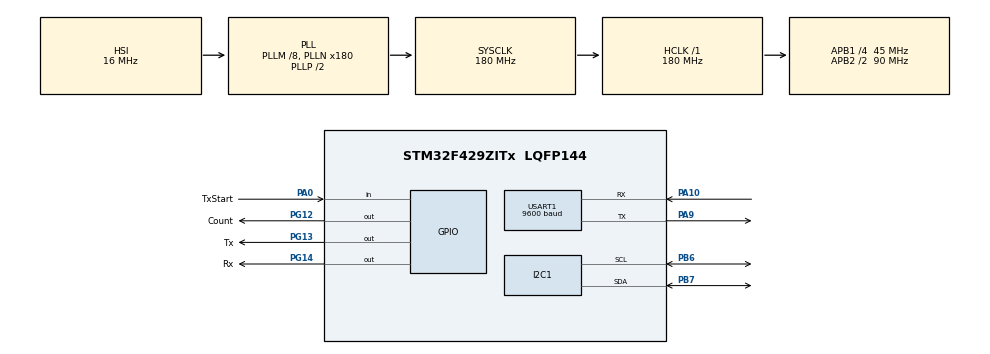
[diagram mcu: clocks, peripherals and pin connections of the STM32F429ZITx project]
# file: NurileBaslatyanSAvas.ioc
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I2C1.AddressingMode=I2C_ADDRESSINGMODE_7BIT
I2C1.DualAddressMode=I2C_DUALADDRESS_ENABLE
I2C1.GeneralCallMode=I2C_GENERALCALL_DISABLE
I2C1.OwnAddress=0x12
I2C1.OwnAddress2=0x14
Mcu.Family=STM32F4
Mcu.Name=STM32F429ZITx
Mcu.Package=LQFP144
NVIC.PriorityGroup=NVIC_PRIORITYGROUP_4
NVIC.TIM7_IRQn=true\:0\:0\:false\:false\:true\:true\:true
NVIC.USART1_IRQn=true\:0\:0\:false\:false\:true\:true\:true
PA0/WKUP.GPIO_Label=TxStart
PA0/WKUP.GPIO_PuPd=GPIO_PULLDOWN
PA0/WKUP.Signal=GPIO_Input
PA10.Mode=Asynchronous
PA10.Signal=USART1_RX
PA13.Mode=Serial_Wire
PA13.Signal=SYS_JTMS-SWDIO
PA14.Mode=Serial_Wire
PA14.Signal=SYS_JTCK-SWCLK
PA9.Mode=Asynchronous
PA9.Signal=USART1_TX
PB6.Mode=I2C
PB6.Signal=I2C1_SCL
PB7.Mode=I2C
PB7.Signal=I2C1_SDA
PG12.GPIO_Label=Count
PG12.Signal=GPIO_Output
PG13.GPIO_Label=Tx
PG13.Signal=GPIO_Output
PG14.GPIO_Label=Rx
PG14.Signal=GPIO_Output
PH0/OSC_IN.Mode=HSE-External-Oscillator
PH0/OSC_IN.Signal=RCC_OSC_IN
PH1/OSC_OUT.Mode=HSE-External-Oscillator
PH1/OSC_OUT.Signal=RCC_OSC_OUT
ProjectManager.HeapSize=0x200
ProjectManager.StackSize=0x400
ProjectManager.TargetToolchain=MDK-ARM V5.27
RCC.48MHZClocksFreq_Value=90000000
RCC.AHBFreq_Value=180000000
RCC.APB1CLKDivider=RCC_HCLK_DIV4
RCC.APB1Freq_Value=45000000
RCC.APB1TimFreq_Value=90000000
RCC.APB2CLKDivider=RCC_HCLK_DIV2
RCC.APB2Freq_Value=90000000
RCC.APB2TimFreq_Value=180000000
RCC.CortexFreq_Value=180000000
RCC.HCLKFreq_Value=180000000
RCC.HSE_VALUE=25000000
RCC.HSI_VALUE=16000000
RCC.LSE_VALUE=32768
RCC.PLLM=8
RCC.PLLN=180
RCC.SYSCLKFreq_VALUE=180000000
RCC.SYSCLKSource=RCC_SYSCLKSOURCE_PLLCLK
RCC.VCOOutputFreq_Value=360000000
TIM7.Period=59999
TIM7.Prescaler=14
USART1.BaudRate=9600
USART1.VirtualMode=VM_ASYNC
VP_TIM7_VS_ClockSourceINT.Mode=Enable_Timer
board=custom

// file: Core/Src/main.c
/* USER CODE BEGIN Header */
/**
  ******************************************************************************
  * @file           : main.c
  * @brief          : Main program body
  ******************************************************************************
  * @attention
  *
  * <h2><center>&copy; Copyright (c) 2021 STMicroelectronics.
  * All rights reserved.</center></h2>
  *
  * This software component is licensed by ST under BSD 3-Clause license,
  * the "License"; You may not use this file except in compliance with the
  * License. You may obtain a copy of the License at:
  *                        opensource.org/licenses/BSD-3-Clause
  *
  ******************************************************************************
  */
/* USER CODE END Header */
#include "main.h"

/* USER CODE BEGIN Includes */
#define  UartHaberUzulugu 50
#define RxStart 0xAB
#define I2CDataUzunluk 8
#define DS3231_ADDRESS 0xD0
/* USER CODE END Includes */

/* USER CODE BEGIN PTD */

uint8_t UartHaberlesmeBaslat=0;

uint8_t DataTx[UartHaberUzulugu];

uint8_t DataRx[UartHaberUzulugu];

uint8_t DataRxDogrulama=0;

uint8_t UartParemetre=0;

uint8_t UartHaberlesmeAdrsi=0xAB;

uint32_t TimeCount=0;

uint8_t UartCount=0;

uint32_t RealTime=0;
uint8_t ChecksumKontrol=0;
uint8_t GelenChecksum=0;
uint8_t GelenDataDogru=0;

///////////////////////i2c////////////////
uint8_t status = 0;
uint8_t I2CAdres=0x82;
uint8_t I2CData[1];
uint8_t I2CDataTx[2]={0x010,0x05};

uint8_t SetEt=0;
uint8_t yil=0;
uint8_t ay=0;
uint8_t gun=0;
uint8_t hafta=0;
uint8_t saat=0;
uint8_t dakika=0;
uint8_t saniye=0;
uint8_t Sor=0;
uint8_t nerden_geldi=0;
/* USER CODE END PTD */

I2C_HandleTypeDef hi2c1;

TIM_HandleTypeDef htim7;

UART_HandleTypeDef huart1;

void SystemClock_Config(void);
static void MX_GPIO_Init(void);
static void MX_TIM7_Init(void);
static void MX_USART1_UART_Init(void);
static void MX_I2C1_Init(void);
/* USER CODE BEGIN PFP */
uint8_t decToBcd(int val)
{
  return (uint8_t)( (val/10*16) + (val%10) );
}
// Convert binary coded decimal to normal decimal numbers
int bcdToDec(uint8_t val)
{
  return (int)( (val/16*10) + (val%16) );
}

typedef struct {
	uint8_t seconds;
	uint8_t minutes;
	uint8_t hour;
	uint8_t dayofweek;
	uint8_t dayofmonth;
	uint8_t month;
	uint8_t year;
} TIME;

TIME time;

// function to set time

void Set_Time (uint8_t sec, uint8_t min, uint8_t hour, uint8_t dow, uint8_t dom, uint8_t month, uint8_t year)
{
	uint8_t set_time[7];
	set_time[0] = decToBcd(sec);
	set_time[1] = decToBcd(min);
	set_time[2] = decToBcd(hour);
	set_time[3] = decToBcd(dow);
	set_time[4] = decToBcd(dom);
	set_time[5] = decToBcd(month);
	set_time[6] = decToBcd(year);

	HAL_I2C_Mem_Write(&hi2c1, DS3231_ADDRESS, 0x00, 1, set_time, 7, 1000);
}

void Get_Time (void)
{
	uint8_t get_time[7];
	HAL_I2C_Mem_Read(&hi2c1, DS3231_ADDRESS, 0x00, 1, get_time, 7, 1000);
	time.seconds = bcdToDec(get_time[0]);
	time.minutes = bcdToDec(get_time[1]);
	time.hour = bcdToDec(get_time[2]);
	time.dayofweek = bcdToDec(get_time[3]);
	time.dayofmonth = bcdToDec(get_time[4]);
	time.month = bcdToDec(get_time[5]);
	time.year = bcdToDec(get_time[6]);
}

float Get_Temp (void)
{
	uint8_t temp[2];

	HAL_I2C_Mem_Read(&hi2c1, DS3231_ADDRESS, 0x11, 1, temp, 2, 1000);
	return ((temp[0])+(temp[1]>>6)/4.0);
}

void force_temp_conv (void)
{
	uint8_t status=0;
	uint8_t control=0;
	HAL_I2C_Mem_Read(&hi2c1, DS3231_ADDRESS, 0x0F, 1, &status, 1, 100);  // read status register
	if (!(status&0x04))
	{
		HAL_I2C_Mem_Read(&hi2c1, DS3231_ADDRESS, 0x0E, 1, &control, 1, 100);  // read control register
		HAL_I2C_Mem_Write(&hi2c1, DS3231_ADDRESS, 0x0E, 1, (uint8_t *)(control|(0x20)), 1, 100);
	}
}

float TEMP;
char buffer[15];

/* USER CODE END PFP */

int main(void)
{

  /* MCU Configuration--------------------------------------------------------*/

  /* Reset of all peripherals, Initializes the Flash interface and the Systick. */
  HAL_Init();

  /* Configure the system clock */
  SystemClock_Config();

  /* Initialize all configured peripherals */
  MX_GPIO_Init();
  MX_TIM7_Init();
  MX_USART1_UART_Init();
  MX_I2C1_Init();

  /* Infinite loop */
  /* USER CODE BEGIN WHILE */

		HAL_UART_Receive_IT(&huart1, DataRx, UartHaberUzulugu);

	__HAL_TIM_CLEAR_IT(&htim7, TIM_IT_UPDATE);
	HAL_TIM_Base_Start_IT(&htim7);	//50Ms
	DataTx[0]=UartHaberlesmeAdrsi;
	DataTx[1]=0x01;
	DataTx[UartHaberUzulugu-3]=0x10;
	DataTx[UartHaberUzulugu-4]=0x11;
	DataTx[UartHaberUzulugu-4]=0xF1;
  while (1)
  {

    /* USER CODE END WHILE */

  }
}

void SystemClock_Config(void)
{
  RCC_OscInitTypeDef RCC_OscInitStruct = {0};
  RCC_ClkInitTypeDef RCC_ClkInitStruct = {0};

  /** Configure the main internal regulator output voltage
  */
  __HAL_RCC_PWR_CLK_ENABLE();
  __HAL_PWR_VOLTAGESCALING_CONFIG(PWR_REGULATOR_VOLTAGE_SCALE1);
  /** Initializes the RCC Oscillators according to the specified parameters
  * in the RCC_OscInitTypeDef structure.
  */
  RCC_OscInitStruct.OscillatorType = RCC_OSCILLATORTYPE_HSI;
  RCC_OscInitStruct.HSIState = RCC_HSI_ON;
  RCC_OscInitStruct.HSICalibrationValue = RCC_HSICALIBRATION_DEFAULT;
  RCC_OscInitStruct.PLL.PLLState = RCC_PLL_ON;
  RCC_OscInitStruct.PLL.PLLSource = RCC_PLLSOURCE_HSI;
  RCC_OscInitStruct.PLL.PLLM = 8;
  RCC_OscInitStruct.PLL.PLLN = 180;
  RCC_OscInitStruct.PLL.PLLP = RCC_PLLP_DIV2;
  RCC_OscInitStruct.PLL.PLLQ = 4;
  if (HAL_RCC_OscConfig(&RCC_OscInitStruct) != HAL_OK)
  {
    Error_Handler();
  }
  /** Activate the Over-Drive mode
  */
  if (HAL_PWREx_EnableOverDrive() != HAL_OK)
  {
    Error_Handler();
  }
  /** Initializes the CPU, AHB and APB buses clocks
  */
  RCC_ClkInitStruct.ClockType = RCC_CLOCKTYPE_HCLK|RCC_CLOCKTYPE_SYSCLK
                              |RCC_CLOCKTYPE_PCLK1|RCC_CLOCKTYPE_PCLK2;
  RCC_ClkInitStruct.SYSCLKSource = RCC_SYSCLKSOURCE_PLLCLK;
  RCC_ClkInitStruct.AHBCLKDivider = RCC_SYSCLK_DIV1;
  RCC_ClkInitStruct.APB1CLKDivider = RCC_HCLK_DIV4;
  RCC_ClkInitStruct.APB2CLKDivider = RCC_HCLK_DIV2;

  if (HAL_RCC_ClockConfig(&RCC_ClkInitStruct, FLASH_LATENCY_5) != HAL_OK)
  {
    Error_Handler();
  }
}

static void MX_I2C1_Init(void)
{

  hi2c1.Instance = I2C1;
  hi2c1.Init.ClockSpeed = 100000;
  hi2c1.Init.DutyCycle = I2C_DUTYCYCLE_2;
  hi2c1.Init.OwnAddress1 = 36;
  hi2c1.Init.AddressingMode = I2C_ADDRESSINGMODE_7BIT;
  hi2c1.Init.DualAddressMode = I2C_DUALADDRESS_ENABLE;
  hi2c1.Init.OwnAddress2 = 40;
  hi2c1.Init.GeneralCallMode = I2C_GENERALCALL_DISABLE;
  hi2c1.Init.NoStretchMode = I2C_NOSTRETCH_DISABLE;
  if (HAL_I2C_Init(&hi2c1) != HAL_OK)
  {
    Error_Handler();
  }
  /** Configure Analogue filter
  */
  if (HAL_I2CEx_ConfigAnalogFilter(&hi2c1, I2C_ANALOGFILTER_ENABLE) != HAL_OK)
  {
    Error_Handler();
  }
  /** Configure Digital filter
  */
  if (HAL_I2CEx_ConfigDigitalFilter(&hi2c1, 0) != HAL_OK)
  {
    Error_Handler();
  }

}

static void MX_TIM7_Init(void)
{

  TIM_MasterConfigTypeDef sMasterConfig = {0};

  htim7.Instance = TIM7;
  htim7.Init.Prescaler = 14;
  htim7.Init.CounterMode = TIM_COUNTERMODE_UP;
  htim7.Init.Period = 59999;
  htim7.Init.AutoReloadPreload = TIM_AUTORELOAD_PRELOAD_DISABLE;
  if (HAL_TIM_Base_Init(&htim7) != HAL_OK)
  {
    Error_Handler();
  }
  sMasterConfig.MasterOutputTrigger = TIM_TRGO_RESET;
  sMasterConfig.MasterSlaveMode = TIM_MASTERSLAVEMODE_DISABLE;
  if (HAL_TIMEx_MasterConfigSynchronization(&htim7, &sMasterConfig) != HAL_OK)
  {
    Error_Handler();
  }

}

static void MX_USART1_UART_Init(void)
{

  huart1.Instance = USART1;
  huart1.Init.BaudRate = 9600;
  huart1.Init.WordLength = UART_WORDLENGTH_8B;
  huart1.Init.StopBits = UART_STOPBITS_1;
  huart1.Init.Parity = UART_PARITY_NONE;
  huart1.Init.Mode = UART_MODE_TX_RX;
  huart1.Init.HwFlowCtl = UART_HWCONTROL_NONE;
  huart1.Init.OverSampling = UART_OVERSAMPLING_16;
  if (HAL_UART_Init(&huart1) != HAL_OK)
  {
    Error_Handler();
  }

}

static void MX_GPIO_Init(void)
{
  GPIO_InitTypeDef GPIO_InitStruct = {0};

  /* GPIO Ports Clock Enable */
  __HAL_RCC_GPIOH_CLK_ENABLE();
  __HAL_RCC_GPIOA_CLK_ENABLE();
  __HAL_RCC_GPIOG_CLK_ENABLE();
  __HAL_RCC_GPIOB_CLK_ENABLE();

  /*Configure GPIO pin Output Level */
  HAL_GPIO_WritePin(GPIOG, Count_Pin|Tx_Pin|Rx_Pin, GPIO_PIN_RESET);

  /*Configure GPIO pin : TxStart_Pin */
  GPIO_InitStruct.Pin = TxStart_Pin;
  GPIO_InitStruct.Mode = GPIO_MODE_INPUT;
  GPIO_InitStruct.Pull = GPIO_PULLDOWN;
  HAL_GPIO_Init(TxStart_GPIO_Port, &GPIO_InitStruct);

  /*Configure GPIO pins : Count_Pin Tx_Pin Rx_Pin */
  GPIO_InitStruct.Pin = Count_Pin|Tx_Pin|Rx_Pin;
  GPIO_InitStruct.Mode = GPIO_MODE_OUTPUT_PP;
  GPIO_InitStruct.Pull = GPIO_NOPULL;
  GPIO_InitStruct.Speed = GPIO_SPEED_FREQ_LOW;
  HAL_GPIO_Init(GPIOG, &GPIO_InitStruct);

}

/* USER CODE BEGIN 4 */
void HAL_I2C_SlaveRxCpltCallback(I2C_HandleTypeDef *hi2c)
{
 if ((hi2c->Instance->CR1 & I2C_CR1_PE) != I2C_CR1_PE)
{
nerden_geldi=1;
}
 else
{
nerden_geldi=2;
}

}
void HAL_I2C_SlaveTxCpltCallback(I2C_HandleTypeDef *hi2c)
{
if ((hi2c->Instance->CR1 & I2C_CR1_PE) != I2C_CR1_PE)
{
nerden_geldi=3;
}
else
{
nerden_geldi=4;
}
}
void HAL_UART_RxCpltCallback(UART_HandleTypeDef *huart)
{
	if(huart == &huart1)	//RPi
	{

		HAL_UART_Receive_IT(&huart1, DataRx, UartHaberUzulugu);
		HAL_GPIO_TogglePin(GPIOG,Rx_Pin);
		ChecksumKontrol=1;

//		if(DataRx[UartParemetre]==0xAB)UartParemetre++;
//		else
//		{
//		UartParemetre=0;
//		}
//		if(UartParemetre>=5)UartParemetre=0;
	}
}
void HAL_UART_ErrorCallback(UART_HandleTypeDef *huart)
{

	//HAL_UART_Stop(&huart1);		// ?
	//dummy=huart1.Instance->RDR;
	//HAL_UART_Receive_DMA(&huart1,rx_buff,25);

  __HAL_UART_DISABLE_IT(huart, UART_IT_TC);
  __HAL_UART_DISABLE_IT(huart, UART_IT_TXE);

  /* Check if a receive process is ongoing or not */
  if(huart->gState == HAL_UART_STATE_BUSY_TX_RX)
  {
    huart->gState = HAL_UART_STATE_BUSY_RX;
  }
  else
  {
    huart->gState = HAL_UART_STATE_READY;
  }
	//  HAL_UART_RxCpltCallback(huart);
}

unsigned checksum(uint8_t *buffer, int len)
{
	  buffer[len-1]=0;
		for(int i=0;i<len-1;i++)
	{
		buffer[len-1]=buffer[i]+buffer[len-1];
	}
      return buffer[UartHaberUzulugu-1];
}

void HAL_TIM_PeriodElapsedCallback(TIM_HandleTypeDef *htim)
{
	__HAL_TIM_CLEAR_IT(&htim7, TIM_IT_UPDATE);

	status=HAL_I2C_Slave_Receive(&hi2c1,I2CData,2,100);
	if(I2CData[0]==4 ){
  HAL_I2C_Slave_Transmit(&hi2c1,I2CDataTx,2,10);
  I2CData[0]=0;
		status=2;
	}
//	HAL_I2C_Mem_Read(&hi2c1, 0x12, 0x03, 1, I2CData, 7, 1000);
if(SetEt==1)
{SetEt=0;
	 Set_Time(saniye, dakika, saat,hafta, gun, ay, yil);
}
	if(ChecksumKontrol==1)
	{
		ChecksumKontrol=0;

		 if(checksum(DataRx,UartHaberUzulugu) == DataRx[UartHaberUzulugu-1] && RxStart == DataRx[0] )
		 {
			 GelenDataDogru=1;
		 }
	}

	if(UartHaberlesmeBaslat==0&&TimeCount==5)
	{

	  DataTx[UartHaberUzulugu-1]=checksum(DataTx,UartHaberUzulugu);
		DataTx[UartHaberUzulugu-1]=DataTx[UartHaberUzulugu-1] & 0xFF;
		TimeCount=0;
		UartHaberlesmeBaslat=1;
		HAL_UART_Transmit_IT(&huart1,(uint8_t *)DataTx,UartHaberUzulugu);
		HAL_GPIO_TogglePin(GPIOG,Tx_Pin);
	}

	 if(HAL_GPIO_ReadPin(GPIOA,TxStart_Pin)==1)
 { DataTx[4]=0xF1;
	 HAL_UART_Transmit_IT(&huart1,(uint8_t *)DataTx,5);
	 UartHaberlesmeBaslat=0;
 }

	TimeCount++;
	if(TimeCount>20)
		{
		TimeCount=0;
 	  UartHaberlesmeBaslat=0;

	//	Get_Time();
	}

	HAL_GPIO_TogglePin(GPIOG,Count_Pin);
	RealTime=TIM7->CNT;

}

// Convert binary coded decimal to normal decimal numbers

/* USER CODE END 4 */

void Error_Handler(void)
{
  __disable_irq();
  while (1)
  {
  }
}

/************************ (C) COPYRIGHT STMicroelectronics *****END OF FILE****/
